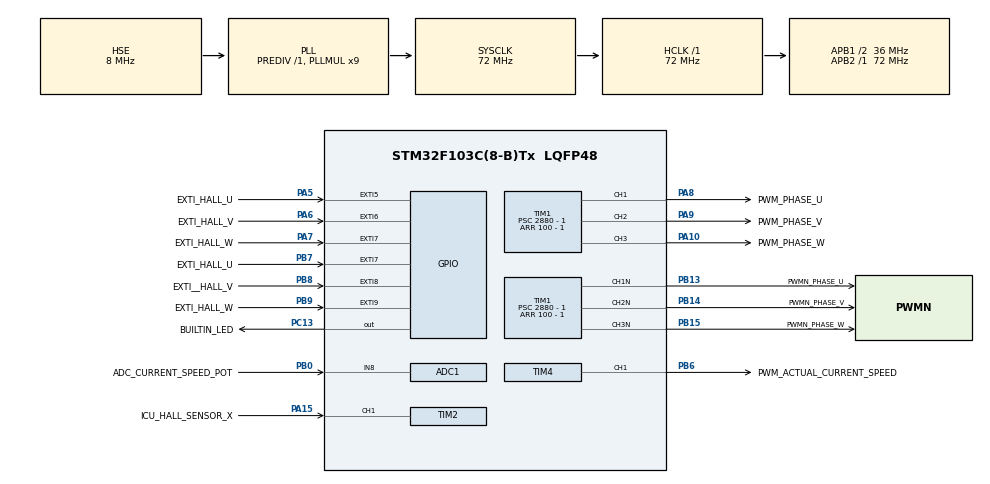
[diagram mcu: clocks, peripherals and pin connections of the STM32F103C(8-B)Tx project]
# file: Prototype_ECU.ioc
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ADC1.Channel-0\#ChannelRegularConversion=ADC_CHANNEL_8
ADC1.ContinuousConvMode=ENABLE
ADC1.NbrOfConversionFlag=1
ADC1.Rank-0\#ChannelRegularConversion=1
ADC1.SamplingTime-0\#ChannelRegularConversion=ADC_SAMPLETIME_239CYCLES_5
ADC1.master=1
Mcu.Family=STM32F1
Mcu.Name=STM32F103C(8-B)Tx
Mcu.Package=LQFP48
<<<<<<< HEAD
||||||| 61ab53e
=======
>>>>>>> 8d117f3c019daa2017624ee00f258bfdf0c452c4
<<<<<<< HEAD
||||||| 61ab53e
=======
>>>>>>> 8d117f3c019daa2017624ee00f258bfdf0c452c4
NVIC.ADC1_2_IRQn=true\:0\:0\:true\:false\:true\:true\:true\:true
NVIC.EXTI9_5_IRQn=true\:0\:0\:false\:false\:true\:true\:true\:true
NVIC.PriorityGroup=NVIC_PRIORITYGROUP_4
NVIC.TIM1_CC_IRQn=true\:0\:0\:false\:false\:true\:true\:true\:true
NVIC.TIM1_UP_IRQn=true\:0\:0\:true\:false\:true\:true\:true\:true
NVIC.TIM2_IRQn=true\:0\:0\:false\:false\:true\:true\:true\:true
NVIC.TIM4_IRQn=true\:0\:0\:false\:false\:true\:true\:true\:true
PA10.GPIO_Label=PWM_PHASE_W
PA10.GPIO_Speed=GPIO_SPEED_FREQ_HIGH
PA10.Signal=S_TIM1_CH3
PA13.Mode=Serial_Wire
PA13.Signal=SYS_JTMS-SWDIO
PA14.Mode=Serial_Wire
PA14.Signal=SYS_JTCK-SWCLK
PA15.GPIO_Label=ICU_HALL_SENSOR_X
PA15.Signal=S_TIM2_CH1_ETR
PA5.GPIO_Label=EXTI_HALL_U
PA5.GPIO_ModeDefaultEXTI=GPIO_MODE_IT_RISING_FALLING
PA5.GPIO_PuPd=GPIO_PULLUP
PA5.Signal=GPXTI5
PA6.GPIO_Label=EXTI_HALL_V
PA6.GPIO_ModeDefaultEXTI=GPIO_MODE_IT_RISING_FALLING
PA6.GPIO_PuPd=GPIO_PULLUP
PA6.Signal=GPXTI6
PA7.GPIO_Label=EXTI_HALL_W
PA7.GPIO_ModeDefaultEXTI=GPIO_MODE_IT_RISING_FALLING
PA7.GPIO_PuPd=GPIO_PULLUP
PA7.Signal=GPXTI7
PA8.GPIO_Label=PWM_PHASE_U
PA8.GPIO_Speed=GPIO_SPEED_FREQ_HIGH
PA8.Signal=S_TIM1_CH1
PA9.GPIO_Label=PWM_PHASE_V
PA9.GPIO_Speed=GPIO_SPEED_FREQ_HIGH
PA9.Signal=S_TIM1_CH2
PB0.GPIO_Label=ADC_CURRENT_SPEED_POT
PB0.Signal=ADCx_IN8
PB13.GPIO_Label=PWMN_PHASE_U
PB13.Mode=PWM Generation1 CH1 CH1N
PB13.Signal=TIM1_CH1N
PB14.GPIO_Label=PWMN_PHASE_V
PB14.Mode=PWM Generation2 CH2 CH2N
PB14.Signal=TIM1_CH2N
PB15.GPIO_Label=PWMN_PHASE_W
PB15.Mode=PWM Generation3 CH3 CH3N
PB15.Signal=TIM1_CH3N
PB6.GPIO_Label=PWM_ACTUAL_CURRENT_SPEED
PB6.GPIO_Speed=GPIO_SPEED_FREQ_HIGH
PB6.Signal=S_TIM4_CH1
PB7.GPIO_Label=EXTI_HALL_U
PB7.GPIO_ModeDefaultEXTI=GPIO_MODE_IT_RISING_FALLING
PB7.Signal=GPXTI7
PB8.GPIO_Label=EXTI__HALL_V
PB8.GPIO_ModeDefaultEXTI=GPIO_MODE_IT_RISING_FALLING
PB8.Signal=GPXTI8
PB9.GPIO_Label=EXTI_HALL_W
PB9.GPIO_ModeDefaultEXTI=GPIO_MODE_IT_RISING_FALLING
PB9.Signal=GPXTI9
PC13-TAMPER-RTC.GPIO_Label=BUILTIN_LED
PC13-TAMPER-RTC.GPIO_PuPd=GPIO_PULLDOWN
PC13-TAMPER-RTC.Signal=GPIO_Output
PD0-OSC_IN.Mode=HSE-External-Oscillator
PD0-OSC_IN.Signal=RCC_OSC_IN
PD1-OSC_OUT.Mode=HSE-External-Oscillator
PD1-OSC_OUT.Signal=RCC_OSC_OUT
ProjectManager.HeapSize=0x200
ProjectManager.StackSize=0x400
ProjectManager.TargetToolchain=STM32CubeIDE
<<<<<<< HEAD
||||||| 61ab53e
=======
>>>>>>> 8d117f3c019daa2017624ee00f258bfdf0c452c4
RCC.ADCPresc=RCC_ADCPCLK2_DIV6
RCC.AHBFreq_Value=72000000
RCC.APB1CLKDivider=RCC_HCLK_DIV2
RCC.APB1Freq_Value=36000000
RCC.APB1TimFreq_Value=72000000
RCC.APB2Freq_Value=72000000
RCC.APB2TimFreq_Value=72000000
RCC.HCLKFreq_Value=72000000
RCC.PLLMUL=RCC_PLL_MUL9
RCC.PLLSourceVirtual=RCC_PLLSOURCE_HSE
RCC.SYSCLKFreq_VALUE=72000000
RCC.SYSCLKSource=RCC_SYSCLKSOURCE_PLLCLK
RCC.USBFreq_Value=72000000
SH.ADCx_IN8.0=ADC1_IN8,IN8
<<<<<<< HEAD
SH.S_TIM1_CH1.0=TIM1_CH1,PWM Generation1 CH1 CH1N
||||||| 61ab53e
SH.S_TIM1_CH1.0=TIM1_CH1,PWM Generation1 CH1
=======
SH.S_TIM1_CH1.0=TIM1_CH1,PWM Generation1 CH1 CH1N
>>>>>>> 8d117f3c019daa2017624ee00f258bfdf0c452c4
SH.S_TIM1_CH2.0=TIM1_CH2,PWM Generation2 CH2 CH2N
SH.S_TIM1_CH3.0=TIM1_CH3,PWM Generation3 CH3 CH3N
SH.S_TIM2_CH1_ETR.0=TIM2_CH1,Input_Capture1_from_TI1
SH.S_TIM4_CH1.0=TIM4_CH1,PWM Generation1 CH1
TIM1.AutoReloadPreload=TIM_AUTORELOAD_PRELOAD_ENABLE
TIM1.Channel-PWM\ Generation1\ CH1\ CH1N=TIM_CHANNEL_1
TIM1.Channel-PWM\ Generation2\ CH2\ CH2N=TIM_CHANNEL_2
TIM1.Channel-PWM\ Generation3\ CH3\ CH3N=TIM_CHANNEL_3
TIM1.ClockDivision=TIM_CLOCKDIVISION_DIV1
<<<<<<< HEAD
TIM1.DeadTime=72
TIM1.OCFastMode_PWM-PWM\ Generation1\ CH1\ CH1N=TIM_OCFAST_ENABLE
TIM1.OCFastMode_PWM-PWM\ Generation2\ CH2\ CH2N=TIM_OCFAST_ENABLE
TIM1.OCFastMode_PWM-PWM\ Generation3\ CH3\ CH3N=TIM_OCFAST_ENABLE
TIM1.Period=100- 1
TIM1.Prescaler=720 - 1
||||||| 61ab53e
TIM1.OCFastMode_PWM-PWM\ Generation1\ CH1=TIM_OCFAST_ENABLE
TIM1.OCFastMode_PWM-PWM\ Generation2\ CH2=TIM_OCFAST_ENABLE
TIM1.OCFastMode_PWM-PWM\ Generation3\ CH3=TIM_OCFAST_ENABLE
TIM1.Period=100 - 1
TIM1.Prescaler=2880 - 1
=======
TIM1.DeadTime=255
TIM1.OCFastMode_PWM-PWM\ Generation1\ CH1\ CH1N=TIM_OCFAST_ENABLE
TIM1.OCFastMode_PWM-PWM\ Generation2\ CH2\ CH2N=TIM_OCFAST_ENABLE
TIM1.OCFastMode_PWM-PWM\ Generation3\ CH3\ CH3N=TIM_OCFAST_ENABLE
TIM1.Period=100 - 1
TIM1.Prescaler=2880 - 1
>>>>>>> 8d117f3c019daa2017624ee00f258bfdf0c452c4
TIM2.Channel-Input_Capture1_from_TI1=TIM_CHANNEL_1
TIM4.AutoReloadPreload=TIM_AUTORELOAD_PRELOAD_ENABLE
TIM4.Channel-PWM\ Generation1\ CH1=TIM_CHANNEL_1
TIM4.Period=200 - 1
TIM4.Prescaler=60000 - 1
VP_TIM1_VS_ClockSourceINT.Mode=Internal
VP_TIM2_VS_ClockSourceINT.Mode=Internal
VP_TIM4_VS_ClockSourceINT.Mode=Internal
board=custom

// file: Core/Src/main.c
/* USER CODE BEGIN Header */
/**
  ******************************************************************************
  * @file           : main.c
  * @brief          : Main program body
  ******************************************************************************
  * @attention
  *
  * Copyright (c) 2024 STMicroelectronics.
  * All rights reserved.
  *
  * This software is licensed under terms that can be found in the LICENSE file
  * in the root directory of this software component.
  * If no LICENSE file comes with this software, it is provided AS-IS.
  *
  ******************************************************************************
  */
/* USER CODE END Header */
#include "main.h"
#include "adc.h"
#include "tim.h"
#include "gpio.h"

/* USER CODE BEGIN PV */

__IO union
{
	uint8_t Sector;
	struct
	{
		uint8_t HallW 		: 1;
		uint8_t HallV 		: 1;
		uint8_t HallU 		: 1;
		uint8_t Reserved 	: 5;
	} Instance;

} HallSensors = {0};

PWM_ConfigTypeDef xPWMConfigStruct = {
		.ppxPhaseTimerHandles[PWM_Phase_U] = &mPHASE_U_TIMER_HANDLE,
		.pulPhaseTimerChannels[PWM_Phase_U] = mPHASE_U_TIMER_CHANNEL,

		.ppxPhaseTimerHandles[PWM_Phase_V] = &mPHASE_V_TIMER_HANDLE,
		.pulPhaseTimerChannels[PWM_Phase_V] = mPHASE_V_TIMER_CHANNEL,

		.ppxPhaseTimerHandles[PWM_Phase_W] = &mPHASE_W_TIMER_HANDLE,
		.pulPhaseTimerChannels[PWM_Phase_W] = mPHASE_W_TIMER_CHANNEL,
};

<<<<<<< HEAD
HALL_ConfigTypeDef xHALLConfigStruct = {
		.ppxSensorPorts[HALL_Sensor_U] = GPIOB,
		.pulSensorPins[HALL_Sensor_U] = GPIO_PIN_7,

		.ppxSensorPorts[HALL_Sensor_V] = GPIOB,
		.pulSensorPins[HALL_Sensor_V] = GPIO_PIN_8,

		.ppxSensorPorts[HALL_Sensor_W] = GPIOB,
		.pulSensorPins[HALL_Sensor_W] = GPIO_PIN_9,
};

||||||| 61ab53e
=======
HALL_ConfigTypeDef xHALLConfigStruct = {
		.ppxSensorPorts[HALL_Sensor_U] = GPIOA,
		.pulSensorPins[HALL_Sensor_U] = GPIO_PIN_5,

		.ppxSensorPorts[HALL_Sensor_V] = GPIOA,
		.pulSensorPins[HALL_Sensor_V] = GPIO_PIN_6,

		.ppxSensorPorts[HALL_Sensor_W] = GPIOA,
		.pulSensorPins[HALL_Sensor_W] = GPIO_PIN_7,
};

>>>>>>> 8d117f3c019daa2017624ee00f258bfdf0c452c4
float fActualRPM;
float fSimRPM;

volatile uint32_t ADC_pulReadingBuffer;
volatile uint8_t ADC_pucReadingCounter = 0;

float fActualRPMPercent;
float fSimRPMPercent;
float fDesiredRPMPercent;

BLDCM_StateTypeDef xMotorCurrentState;
BLDCM_StateTypeDef xMotorTransitionState;

/* USER CODE END PV */

void SystemClock_Config(void);

int main(void)
{

  /* MCU Configuration--------------------------------------------------------*/

  /* Reset of all peripherals, Initializes the Flash interface and the Systick. */
  HAL_Init();

  /* Configure the system clock */
  SystemClock_Config();

  /* Initialize all configured peripherals */
  MX_GPIO_Init();
  MX_TIM1_Init();
  MX_TIM4_Init();
  MX_ADC1_Init();
  MX_TIM2_Init();
  /* USER CODE BEGIN 2 */

  /*
   * Start the ICU responsible for:
   * 	- Actual speed calculataion using a hall sensor input.
   */
  HAL_TIM_Base_Start_IT(&htim2);
  HAL_TIM_IC_Start_IT(&htim2, TIM_CHANNEL_1);

#if ( mBLDCM_OPERTATION == mBLDCM_SIMULATE )
  /*
   * Start the timer responsible for:
   * 	- Hall sensor sector simulation.
   * 	- Hall sensor physical signal simulation
   */
<<<<<<< HEAD
  HAL_TIM_Base_Start_IT(&htim4);
#endif
||||||| 61ab53e
  HAL_TIM_Base_Start_IT(&htim4);

=======
//  HAL_TIM_Base_Start_IT(&htim4);

>>>>>>> 8d117f3c019daa2017624ee00f258bfdf0c452c4

  /*
   * Start the adc conversion resposible for:
   * 	- Reading the motor throttle.
   */
//  HAL_ADC_Start_IT(&hadc1);

#if ( mBLDCM_OPERTATION == mBLDCM_SIMULATE )
  /*
   * Start the pwm responsible for:
   * 	- Indication of current speed % with it duty cycle.
   */
<<<<<<< HEAD
  HAL_TIM_PWM_Start_IT(&htim4, TIM_CHANNEL_1);
#endif

  (void) HALL_vInit(&xHALLConfigStruct);
||||||| 61ab53e
  HAL_TIM_PWM_Start_IT(&htim4, TIM_CHANNEL_1);

=======
//  HAL_TIM_PWM_Start_IT(&htim4, TIM_CHANNEL_1);

>>>>>>> 8d117f3c019daa2017624ee00f258bfdf0c452c4
  (void) BLDCM_vInit();
  (void) PWM_vInit(&xPWMConfigStruct);

  /* USER CODE END 2 */

  /* Infinite loop */
  while (1)
  {

    /* USER CODE BEGIN 3 */

	  fActualRPM = BLDCM_fGetMotorActualRPM();
	  fActualRPMPercent = (fActualRPM / mBLDCM_MAX_SPEED_RPM) * 100;

	  xMotorCurrentState = BLDCM_xGetState();

	  uint8_t RPMPercent = (uint8_t)BLDCM_fGetMotorDesiredRPMPercent();

	  switch ( xMotorCurrentState )
	  {
		  case BLDCM_IDLE:

			  BLDCM_vCommutate();
//			  (void) PWM_vStop(PWM_Phase_U);
//			  (void) PWM_vStop(PWM_Phase_V);
//			  (void) PWM_vStop(PWM_Phase_W);

			  if ( mBLDCM_IDLE_STATE_THRESHOLD_PERCENTAGE < RPMPercent )
			  {
				  (void) BLDCM_vSetState(BLDCM_STARTING);
			  }

			  break;

		  case BLDCM_STARTING:

			  if ( BLDCM_xStartMotor() == BLDCM_STARTING_SUCCEEDED )
			  {
				  (void) BLDCM_vSetState(BLDCM_RUNNING);
			  }
			  else
			  {
				  (void) BLDCM_vSetState(BLDCM_IDLE);
			  }

			  break;

		  case BLDCM_RUNNING:

			  BLDCM_vCommutate();

			  if ( (uint8_t)BLDCM_fGetMotorActualRPMPercent() <  mBLDCM_TRANSITION_STATE_THRESHOLD_PERCENTAGE )
			  {
				  BLDCM_vSetState(BLDCM_STOPPING);
			  }

			  break;

		  case BLDCM_STOPPING:

			  if ( BLDCM_xStopMotor() == BLDCM_STOPPING_SUCCEEDED )
			  {
				  (void) BLDCM_vSetState(BLDCM_IDLE);
			  }
			  else
			  {
				  (void) BLDCM_vSetState(BLDCM_RUNNING);
			  }

			  break;

		  default: break;
	  }
  }
  /* USER CODE END 3 */
}

void SystemClock_Config(void)
{
  RCC_OscInitTypeDef RCC_OscInitStruct = {0};
  RCC_ClkInitTypeDef RCC_ClkInitStruct = {0};
  RCC_PeriphCLKInitTypeDef PeriphClkInit = {0};

  /** Initializes the RCC Oscillators according to the specified parameters
  * in the RCC_OscInitTypeDef structure.
  */
  RCC_OscInitStruct.OscillatorType = RCC_OSCILLATORTYPE_HSE;
  RCC_OscInitStruct.HSEState = RCC_HSE_ON;
  RCC_OscInitStruct.HSEPredivValue = RCC_HSE_PREDIV_DIV1;
  RCC_OscInitStruct.HSIState = RCC_HSI_ON;
  RCC_OscInitStruct.PLL.PLLState = RCC_PLL_ON;
  RCC_OscInitStruct.PLL.PLLSource = RCC_PLLSOURCE_HSE;
  RCC_OscInitStruct.PLL.PLLMUL = RCC_PLL_MUL9;
  if (HAL_RCC_OscConfig(&RCC_OscInitStruct) != HAL_OK)
  {
    Error_Handler();
  }

  /** Initializes the CPU, AHB and APB buses clocks
  */
  RCC_ClkInitStruct.ClockType = RCC_CLOCKTYPE_HCLK|RCC_CLOCKTYPE_SYSCLK
                              |RCC_CLOCKTYPE_PCLK1|RCC_CLOCKTYPE_PCLK2;
  RCC_ClkInitStruct.SYSCLKSource = RCC_SYSCLKSOURCE_PLLCLK;
  RCC_ClkInitStruct.AHBCLKDivider = RCC_SYSCLK_DIV1;
  RCC_ClkInitStruct.APB1CLKDivider = RCC_HCLK_DIV2;
  RCC_ClkInitStruct.APB2CLKDivider = RCC_HCLK_DIV1;

  if (HAL_RCC_ClockConfig(&RCC_ClkInitStruct, FLASH_LATENCY_2) != HAL_OK)
  {
    Error_Handler();
  }
  PeriphClkInit.PeriphClockSelection = RCC_PERIPHCLK_ADC;
  PeriphClkInit.AdcClockSelection = RCC_ADCPCLK2_DIV6;
  if (HAL_RCCEx_PeriphCLKConfig(&PeriphClkInit) != HAL_OK)
  {
    Error_Handler();
  }
}

/* USER CODE BEGIN 4 */

void SetDutyCycle(TIM_HandleTypeDef *htim, uint32_t pwmChannel, uint8_t DutyCyclePercentage)
{
	if ( (0 <= DutyCyclePercentage) && (DutyCyclePercentage <= 100) )
	{
		uint32_t pwmMaxCounterValue = __HAL_TIM_GET_AUTORELOAD(htim);
		uint32_t pwmNewCounterValue = (uint32_t)( ((float)DutyCyclePercentage / 100.0f) * (float)pwmMaxCounterValue );

		__HAL_TIM_SET_COMPARE(htim, pwmChannel, pwmNewCounterValue);
	}
}

void HAL_ADC_ConvCpltCallback(ADC_HandleTypeDef* hadc)
{
	ADC_pulReadingBuffer += HAL_ADC_GetValue(hadc);
	ADC_pucReadingCounter++;

	if (ADC_pucReadingCounter >= 32)
	{
		ADC_pulReadingBuffer = ADC_pulReadingBuffer >> 5;
		ADC_pucReadingCounter = 0;

		ADC_pulReadingBuffer = 1.852 * ADC_pulReadingBuffer - 1897;

		fSimRPM = (float)((float)(mBLDCM_MAX_SPEED_RPM * ADC_pulReadingBuffer) / 4095);
		fSimRPMPercent = (fSimRPM / mBLDCM_MAX_SPEED_RPM) * 100;

<<<<<<< HEAD
#if ( mBLDCM_OPERTATION == mBLDCM_SIMULATE )
		SetDutyCycle(&htim4, TIM_CHANNEL_1, (uint8_t)BLDCM_fGetMotorDesiredRPMPercent());
||||||| 61ab53e
		SetDutyCycle(&htim4, TIM_CHANNEL_1, (uint8_t)fSimRPMPercent);
=======
//		SetDutyCycle(&htim4, TIM_CHANNEL_1, (uint8_t)BLDCM_fGetMotorActualRPMPercent());
>>>>>>> 8d117f3c019daa2017624ee00f258bfdf0c452c4

//		uint32_t ulTim4Prescaler = -13.89 * ADC_pulReadingBuffer + 60000;
//		__HAL_TIM_SET_PRESCALER(&htim4, ulTim4Prescaler);
#endif
		BLDCM_vUpdateMotorDesiredSpeedParameters(fSimRPM);

<<<<<<< HEAD
||||||| 61ab53e
		uint32_t ulTim4Prescaler = -14.58 * ADC_pulReadingBuffer + 60000;
		__HAL_TIM_SET_PRESCALER(&htim4, ulTim4Prescaler);
=======
//		uint32_t ulTim4Prescaler = -14.58 * ADC_pulReadingBuffer + 60000;
//		__HAL_TIM_SET_PRESCALER(&htim4, ulTim4Prescaler);
>>>>>>> 8d117f3c019daa2017624ee00f258bfdf0c452c4
	}
}

/* USER CODE END 4 */

void Error_Handler(void)
{
  __disable_irq();
  while (1)
  {
  }
}
